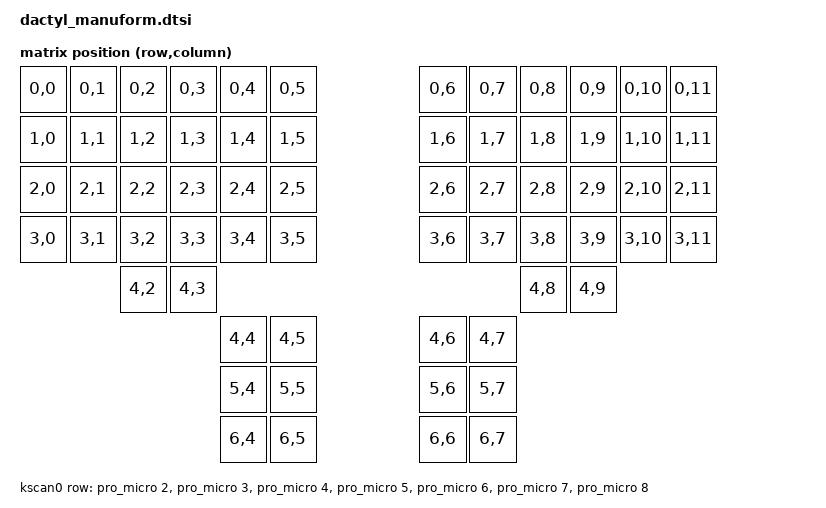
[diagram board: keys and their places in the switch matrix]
#include <dt-bindings/zmk/matrix_transform.h>

/ {
    chosen {
        zmk,kscan = &kscan0;
        zmk,matrix_transform = &default_transform;
        zmk,physical-layout = &physical_layout0;
        zephyr,display = &oled;
        zmk,studio-unlock-on-start;
    };

    behaviors {
        studio_unlock: studio_unlock {
            compatible = "zmk,behavior-studio-unlock";
            #binding-cells = <0>;
        };
    };

    default_transform: keymap_transform_0 {
        compatible = "zmk,matrix-transform";
        columns = <12>;
        rows = <7>;
        map = <
RC(0,0) RC(0,1) RC(0,2) RC(0,3) RC(0,4) RC(0,5)                   RC(0,6) RC(0,7) RC(0,8) RC(0,9) RC(0,10) RC(0,11)
RC(1,0) RC(1,1) RC(1,2) RC(1,3) RC(1,4) RC(1,5)                   RC(1,6) RC(1,7) RC(1,8) RC(1,9) RC(1,10) RC(1,11)
RC(2,0) RC(2,1) RC(2,2) RC(2,3) RC(2,4) RC(2,5)                   RC(2,6) RC(2,7) RC(2,8) RC(2,9) RC(2,10) RC(2,11)
RC(3,0) RC(3,1) RC(3,2) RC(3,3) RC(3,4) RC(3,5)                   RC(3,6) RC(3,7) RC(3,8) RC(3,9) RC(3,10) RC(3,11)
                RC(4,2) RC(4,3)                                                   RC(4,8) RC(4,9)
                                RC(4,4) RC(4,5)                   RC(4,6) RC(4,7)
                                RC(5,4) RC(5,5)                   RC(5,6) RC(5,7)
                                RC(6,4) RC(6,5)                   RC(6,6) RC(6,7)
        >;
    };

    kscan0: kscan {
        compatible = "zmk,kscan-gpio-matrix";
        label = "KSCAN";

        wakeup-source;
        diode-direction = "col2row";
        row-gpios
            = <&pro_micro 2 (GPIO_ACTIVE_HIGH | GPIO_PULL_DOWN)>
            , <&pro_micro 3 (GPIO_ACTIVE_HIGH | GPIO_PULL_DOWN)>
            , <&pro_micro 4 (GPIO_ACTIVE_HIGH | GPIO_PULL_DOWN)>
            , <&pro_micro 5 (GPIO_ACTIVE_HIGH | GPIO_PULL_DOWN)>
            , <&pro_micro 6 (GPIO_ACTIVE_HIGH | GPIO_PULL_DOWN)>
            , <&pro_micro 7 (GPIO_ACTIVE_HIGH | GPIO_PULL_DOWN)>
            , <&pro_micro 8 (GPIO_ACTIVE_HIGH | GPIO_PULL_DOWN)>
            ;

    };

    physical_layout0: physical_layout_0 {
        compatible = "zmk,physical-layout";
        display-name = "Default Layout";
        transform = <&default_transform>;
        kscan = <&kscan0>;
        keys = <
            <&key_physical_attrs 0 0 100 100> <&key_physical_attrs 100 0 100 100> <&key_physical_attrs 200 0 100 100> <&key_physical_attrs 300 0 100 100> <&key_physical_attrs 400 0 100 100> <&key_physical_attrs 500 0 100 100>
            <&key_physical_attrs 800 0 100 100> <&key_physical_attrs 900 0 100 100> <&key_physical_attrs 1000 0 100 100> <&key_physical_attrs 1100 0 100 100> <&key_physical_attrs 1200 0 100 100> <&key_physical_attrs 1300 0 100 100>
            <&key_physical_attrs 0 100 100 100> <&key_physical_attrs 100 100 100 100> <&key_physical_attrs 200 100 100 100> <&key_physical_attrs 300 100 100 100> <&key_physical_attrs 400 100 100 100> <&key_physical_attrs 500 100 100 100>
            <&key_physical_attrs 800 100 100 100> <&key_physical_attrs 900 100 100 100> <&key_physical_attrs 1000 100 100 100> <&key_physical_attrs 1100 100 100 100> <&key_physical_attrs 1200 100 100 100> <&key_physical_attrs 1300 100 100 100>
            <&key_physical_attrs 0 200 100 100> <&key_physical_attrs 100 200 100 100> <&key_physical_attrs 200 200 100 100> <&key_physical_attrs 300 200 100 100> <&key_physical_attrs 400 200 100 100> <&key_physical_attrs 500 200 100 100>
            <&key_physical_attrs 800 200 100 100> <&key_physical_attrs 900 200 100 100> <&key_physical_attrs 1000 200 100 100> <&key_physical_attrs 1100 200 100 100> <&key_physical_attrs 1200 200 100 100> <&key_physical_attrs 1300 200 100 100>
            <&key_physical_attrs 0 300 100 100> <&key_physical_attrs 100 300 100 100> <&key_physical_attrs 200 300 100 100> <&key_physical_attrs 300 300 100 100> <&key_physical_attrs 400 300 100 100> <&key_physical_attrs 500 300 100 100>
            <&key_physical_attrs 800 300 100 100> <&key_physical_attrs 900 300 100 100> <&key_physical_attrs 1000 300 100 100> <&key_physical_attrs 1100 300 100 100> <&key_physical_attrs 1200 300 100 100> <&key_physical_attrs 1300 300 100 100>
            <&key_physical_attrs 200 400 100 100> <&key_physical_attrs 300 400 100 100>
            <&key_physical_attrs 1000 400 100 100> <&key_physical_attrs 1100 400 100 100>
            <&key_physical_attrs 400 400 100 100> <&key_physical_attrs 500 400 100 100>
            <&key_physical_attrs 800 400 100 100> <&key_physical_attrs 900 400 100 100>
            <&key_physical_attrs 400 500 100 100> <&key_physical_attrs 500 500 100 100>
            <&key_physical_attrs 800 500 100 100> <&key_physical_attrs 900 500 100 100>
            <&key_physical_attrs 400 600 100 100> <&key_physical_attrs 500 600 100 100>
            <&key_physical_attrs 800 600 100 100> <&key_physical_attrs 900 600 100 100>
        >;
    };
};


&pro_micro_i2c {
    status = "okay";
    oled: sh1106@3c {
        compatible = "sinowealth,sh1106";
        reg = <0x3c>;
        width = <129>;
        height = <64>;
        segment-offset = <1>;
        page-offset = <0>;
        display-offset = <0>;
        multiplex-ratio = <63>;
        segment-remap;
        com-invdir;
        inversion-on;
        prechargep = <0x22>;
        };
}; 
